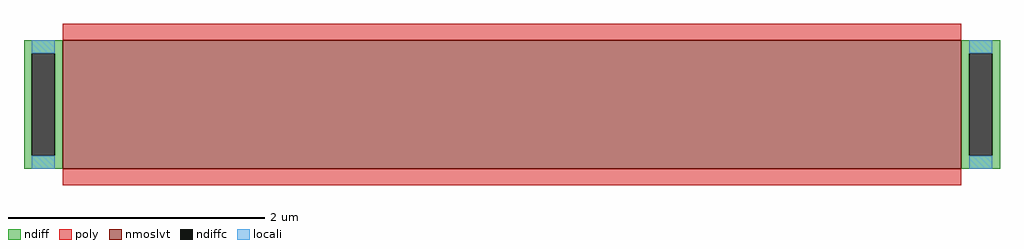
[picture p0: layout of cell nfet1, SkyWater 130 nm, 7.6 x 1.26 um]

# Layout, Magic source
magic
tech sky130A
<< nmoslvt >>
rect 0 0 700 100
<< ndiff >>
rect -30 90 0 100
rect -30 10 -24 90
rect -6 10 0 90
rect -30 0 0 10
rect 700 90 730 100
rect 700 10 706 90
rect 724 10 730 90
rect 700 0 730 10
<< ndiffc >>
rect -24 10 -6 90
rect 706 10 724 90
<< poly >>
rect 0 100 700 113
rect 0 -13 700 0
<< locali >>
rect -24 90 -6 100
rect -24 0 -6 10
rect 706 90 724 100
rect 706 0 724 10
<< end >>
